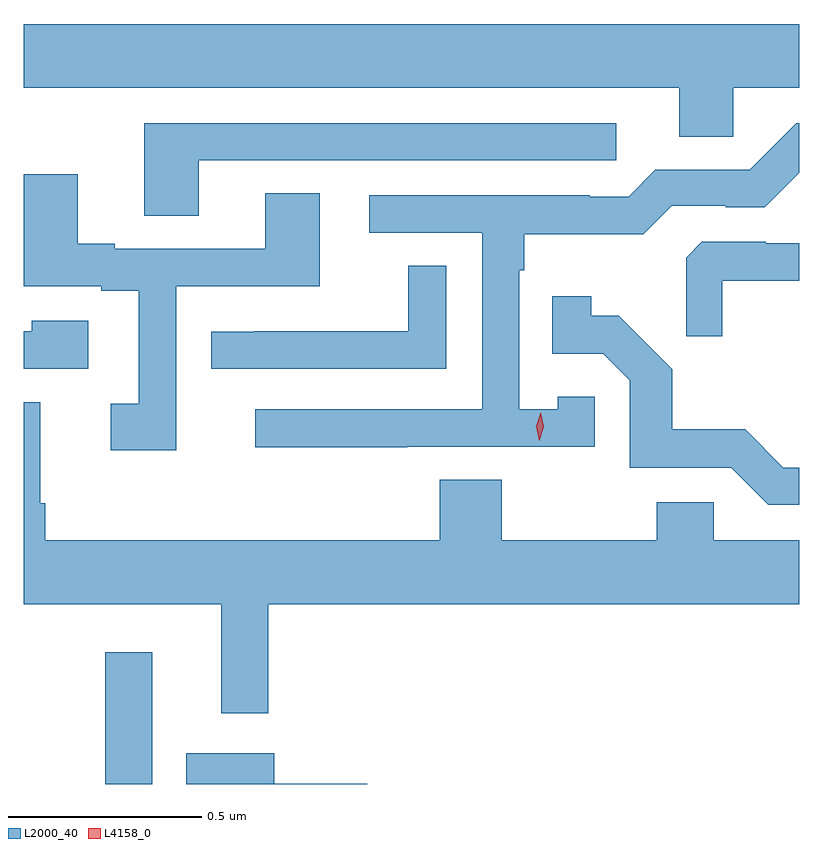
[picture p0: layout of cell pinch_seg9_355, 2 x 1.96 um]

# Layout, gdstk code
import gdstk
lib = gdstk.Library(unit=1e-6, precision=1e-09)
def R(c, l, rs):  # rectangles x0, y0, x1, y1
    for r in rs: c.add(gdstk.rectangle(r[:2], r[2:], *l))
def P(c, l, *ps):  # polygons
    for p in ps: c.add(gdstk.Polygon(p, *l))
L2000_40 = (2000, 40)
L4158_0 = (4158, 0)

pinch_seg9_355 = lib.new_cell('pinch_seg9_355')
R(pinch_seg9_355, L2000_40, [(541.782,1199.952,541.903,1200.292)])
P(pinch_seg9_355, L2000_40, [(543.402,1201.748),(543.572,1201.748),(543.572,1201.912),(541.572,1201.912),(541.572,1201.748),(543.263,1201.748),(543.263,1201.621),(543.402,1201.621)],
  [(542.561,1200.822),(543.045,1200.822),(543.045,1200.951),(542.949,1200.951),(542.949,1200.919),(542.85,1200.919),(542.85,1201.277),(542.863,1201.277),(542.863,1201.37),(543.17,1201.37),(543.243,1201.443),(543.382,1201.443),(543.382,1201.44),(543.483,1201.44),(543.572,1201.529),(543.572,1201.656),(543.564,1201.656),(543.444,1201.536),(543.201,1201.536),(543.132,1201.467),(543.032,1201.467),(543.032,1201.47),(542.463,1201.47),(542.463,1201.374),(542.754,1201.374),(542.754,1200.918),(542.169,1200.918),(542.169,1200.82),(542.561,1200.82)],
  [(542.023,1201.56),(543.1,1201.56),(543.1,1201.656),(541.883,1201.656),(541.883,1201.417),(542.023,1201.417)],
  [(541.965,1201.236),(542.335,1201.236),(542.335,1201.475),(542.195,1201.475),(542.195,1201.332),(541.807,1201.332),(541.807,1201.345),(541.711,1201.345),(541.711,1201.525),(541.572,1201.525),(541.572,1201.236),(541.772,1201.236),(541.772,1201.224),(541.868,1201.224),(541.868,1200.933),(541.797,1200.933),(541.797,1200.813),(541.965,1200.813)],
  [(543.374,1201.25),(543.572,1201.25),(543.572,1201.347),(543.486,1201.347),(543.486,1201.35),(543.321,1201.35),(543.28,1201.309),(543.28,1201.107),(543.374,1201.107)],
  [(542.661,1201.289),(542.563,1201.289),(542.563,1201.119),(542.167,1201.119),(542.167,1201.118),(542.055,1201.118),(542.055,1201.023),(542.661,1201.023)],
  [(543.572,1200.768),(543.531,1200.768),(543.433,1200.867),(543.244,1200.867),(543.244,1201.022),(543.106,1201.16),(543.036,1201.16),(543.036,1201.21),(542.935,1201.21),(542.935,1201.062),(543.066,1201.062),(543.135,1200.993),(543.135,1200.768),(543.396,1200.768),(543.492,1200.672),(543.572,1200.672)],
  [(541.738,1201.147),(541.593,1201.147),(541.593,1201.119),(541.572,1201.119),(541.572,1201.023),(541.738,1201.023)],
  [(542.203,1200.416),(543.572,1200.416),(543.572,1200.58),(543.351,1200.58),(543.351,1200.678),(543.205,1200.678),(543.205,1200.58),(542.805,1200.58),(542.805,1200.737),(542.645,1200.737),(542.645,1200.58),(541.628,1200.58),(541.628,1200.676),(541.615,1200.676),(541.615,1200.937),(541.572,1200.937),(541.572,1200.416),(542.081,1200.416),(542.081,1200.135),(542.203,1200.135)],
  [(542.458,1199.953),(542.218,1199.953),(542.218,1200.031),(541.991,1200.031),(541.991,1199.952),(542.458,1199.952)])
P(pinch_seg9_355, L4158_0, [(542.902,1200.837),(542.902,1200.837),(542.894,1200.874),(542.905,1200.909),(542.905,1200.909),(542.905,1200.909),(542.913,1200.873),(542.902,1200.837)])

lib.write_gds('pinch_seg9_355.gds')
